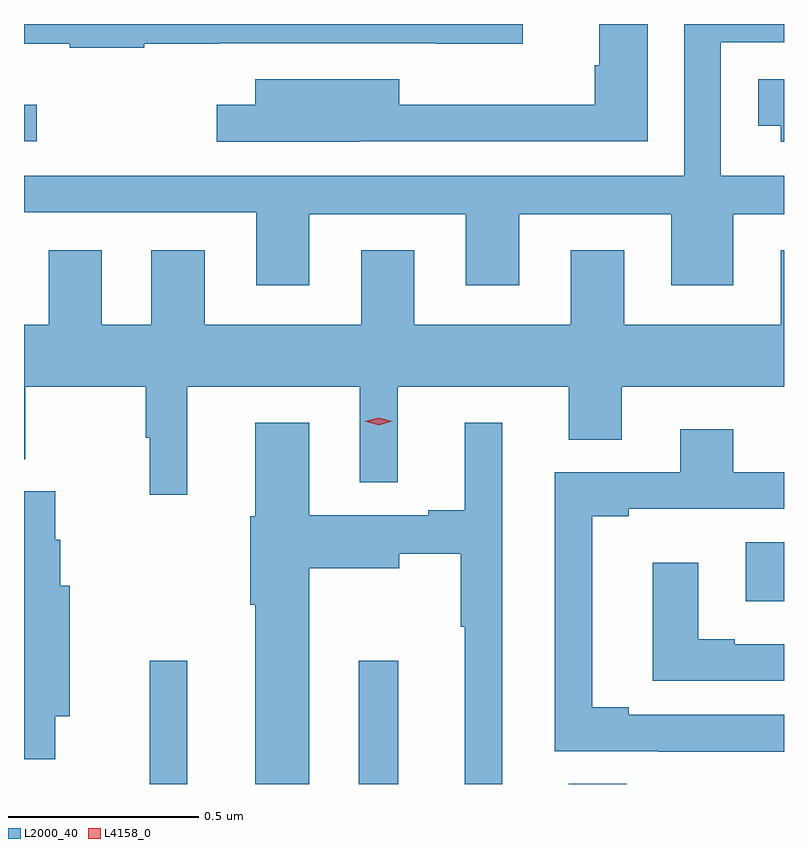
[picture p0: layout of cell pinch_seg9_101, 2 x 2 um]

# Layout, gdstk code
import gdstk
lib = gdstk.Library(unit=1e-6, precision=1e-09)
def R(c, l, rs):  # rectangles x0, y0, x1, y1
    for r in rs: c.add(gdstk.rectangle(r[:2], r[2:], *l))
def P(c, l, *ps):  # polygons
    for p in ps: c.add(gdstk.Polygon(p, *l))
L2000_40 = (2000, 40)
L4158_0 = (4158, 0)

pinch_seg9_101 = lib.new_cell('pinch_seg9_101')
R(pinch_seg9_101, L2000_40, [(1089.919,1191.379,1090.018,1191.703), (1090.469,1191.379,1090.573,1191.703), (1091.021,1191.379,1091.174,1191.38), (1091.487,1191.86,1091.588,1192.015), (1089.588,1193.07,1089.622,1193.167)])
P(pinch_seg9_101, L2000_40, [(1090.339,1192.879),(1090.751,1192.879),(1090.751,1192.692),(1090.891,1192.692),(1090.891,1192.879),(1091.291,1192.879),(1091.291,1192.692),(1091.455,1192.692),(1091.455,1192.879),(1091.588,1192.879),(1091.588,1192.98),(1091.422,1192.98),(1091.422,1192.981),(1091.421,1192.981),(1091.421,1193.331),(1091.588,1193.331),(1091.588,1193.379),(1091.325,1193.379),(1091.325,1192.98),(1089.588,1192.98),(1089.588,1192.884),(1090.199,1192.884),(1090.199,1192.692),(1090.339,1192.692)],
  [(1089.905,1193.327),(1090.1,1193.327),(1090.1,1193.328),(1090.672,1193.328),(1090.672,1193.327),(1090.9,1193.327),(1090.9,1193.379),(1089.588,1193.379),(1089.588,1193.327),(1089.709,1193.327),(1089.709,1193.316),(1089.905,1193.316)],
  [(1090.472,1193.07),(1091.23,1193.07),(1091.23,1193.379),(1091.102,1193.379),(1091.102,1193.271),(1091.09,1193.271),(1091.09,1193.167),(1090.576,1193.167),(1090.576,1193.233),(1090.196,1193.233),(1090.196,1193.167),(1090.095,1193.167),(1090.095,1193.069),(1090.472,1193.069)],
  [(1091.588,1193.233),(1091.52,1193.233),(1091.52,1193.111),(1091.579,1193.111),(1091.579,1193.069),(1091.588,1193.069)],
  [(1090.018,1192.424),(1090.472,1192.424),(1090.472,1192.173),(1090.571,1192.173),(1090.571,1192.424),(1091.021,1192.424),(1091.021,1192.285),(1091.161,1192.285),(1091.161,1192.424),(1091.588,1192.424),(1091.588,1192.783),(1091.579,1192.783),(1091.579,1192.588),(1091.167,1192.588),(1091.167,1192.783),(1091.027,1192.783),(1091.027,1192.588),(1090.615,1192.588),(1090.615,1192.783),(1090.475,1192.783),(1090.475,1192.588),(1090.063,1192.588),(1090.063,1192.783),(1089.923,1192.783),(1089.923,1192.588),(1089.793,1192.588),(1089.793,1192.783),(1089.653,1192.783),(1089.653,1192.588),(1089.588,1192.588),(1089.588,1192.234),(1089.591,1192.234),(1089.591,1192.424),(1089.909,1192.424),(1089.909,1192.29),(1089.919,1192.29),(1089.919,1192.14),(1090.018,1192.14)],
  [(1090.339,1191.947),(1090.576,1191.947),(1090.576,1191.985),(1090.737,1191.985),(1090.737,1191.793),(1090.748,1191.793),(1090.748,1191.379),(1090.846,1191.379),(1090.846,1192.33),(1090.748,1192.33),(1090.748,1192.099),(1090.652,1192.099),(1090.652,1192.086),(1090.339,1192.086),(1090.339,1192.33),(1090.196,1192.33),(1090.196,1192.083),(1090.184,1192.083),(1090.184,1191.851),(1090.196,1191.851),(1090.196,1191.379),(1090.339,1191.379)],
  [(1091.588,1191.561),(1091.179,1191.561),(1091.179,1191.581),(1091.083,1191.581),(1091.083,1192.084),(1091.179,1192.084),(1091.179,1192.103),(1091.451,1192.103),(1091.451,1192.104),(1091.588,1192.104),(1091.588,1192.2),(1091.455,1192.2),(1091.455,1192.312),(1091.315,1192.312),(1091.315,1192.2),(1090.985,1192.2),(1090.985,1191.465),(1091.257,1191.465),(1091.257,1191.464),(1091.588,1191.464)],
  [(1089.67,1191.557),(1089.709,1191.557),(1089.709,1191.901),(1089.683,1191.901),(1089.683,1192.022),(1089.67,1192.022),(1089.67,1192.149),(1089.588,1192.149),(1089.588,1191.444),(1089.67,1191.444)],
  [(1091.588,1191.747),(1091.458,1191.747),(1091.458,1191.76),(1091.362,1191.76),(1091.362,1191.961),(1091.243,1191.961),(1091.243,1191.651),(1091.588,1191.651)])
P(pinch_seg9_101, L4158_0, [(1090.521,1192.323),(1090.485,1192.333),(1090.485,1192.333),(1090.485,1192.333),(1090.521,1192.343),(1090.557,1192.333),(1090.557,1192.333),(1090.557,1192.333)])

lib.write_gds('pinch_seg9_101.gds')
